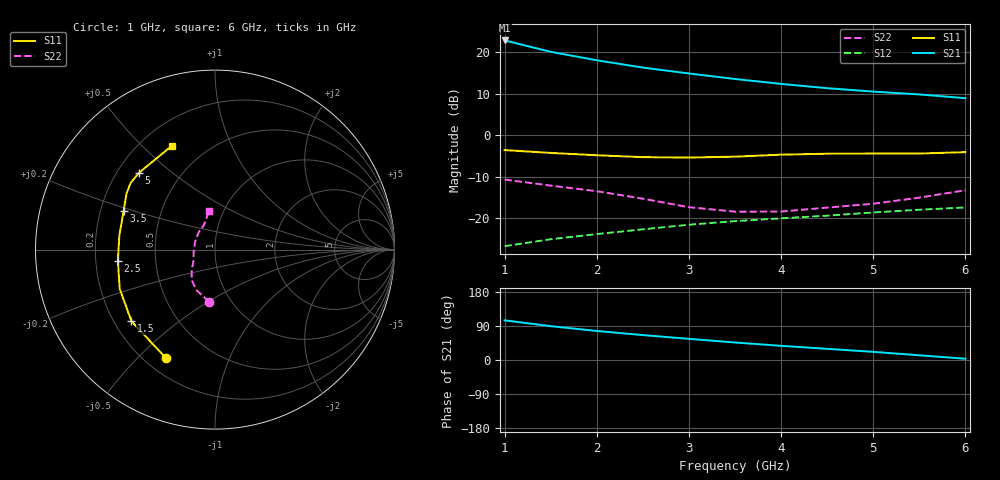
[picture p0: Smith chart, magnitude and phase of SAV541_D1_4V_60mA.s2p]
! Created Mon Oct 27 14:44:19 2008
# hz S ma R 50
! 2 Port Network Data from SP1.SP block
! freq  magS11  angS11  magS21  angS21  magS12  angS12  magS22  angS22
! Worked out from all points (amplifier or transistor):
!   11 points, 1 GHz to 6 GHz, reference 50 ohm
!   highest |S21| = 22.9 dB at 1 GHz (marker M1)
!   |S21| within 3 dB of that: start of sweep to 1.565 GHz
!   unconditionally stable (mu >= 1): 3.609 GHz to end of sweep
!   at 1.5 GHz: K = 0.66, MSG = 22.6 dB, |S12| = -25.1 dB
!   at 3.5 GHz: K = 0.99, MSG = 17.1 dB, |S12| = -20.7 dB
!   at 6 GHz: K = 1.08, MAG = 11.5 dB, |S12| = -17.4 dB
!   S11 on the Smith chart (normalised r, x): 1 GHz: 0.28, -0.61; 1.5 GHz: 0.27, -0.35; 2.5 GHz: 0.30, -0.05; 3.5 GHz: 0.30, +0.18; 5 GHz: 0.29, +0.39; 6 GHz: 0.32, +0.62
1e9  0.6625 -114.5  13.92 104.6  0.04598 43.6  0.2924 -96.5
1.5e9  0.613 -139.4  10.16 89.3  0.05577 38.8  0.2472 -115.5
2e9  0.5742 -157.6  8.033 76.6  0.06433 34.8  0.2116 -128.1
2.5e9  0.5448 -173.4  6.553 65.7  0.0734 32.1  0.1719 -139.0
3e9  0.5387 171.6  5.564 55.8  0.08343 28.7  0.1357 -152.0
3.5e9  0.5523 157.3  4.774 46.2  0.09211 24.0  0.1199 -173.5
4e9  0.5838 147.5  4.166 37.4  0.09968 19.8  0.1203 156.1
4.5e9  0.5992 141.6  3.698 29.4  0.1073 15.9  0.1342 131.4
5e9  0.602 134.7  3.365 21.5  0.1173 12.0  0.1493 114.9
5.5e9  0.6024 124.2  3.111 12.4  0.1265 6.7  0.177 106.0
6e9  0.6263 112.5  2.802 3.3  0.1348 0.8  0.2174 98.9
